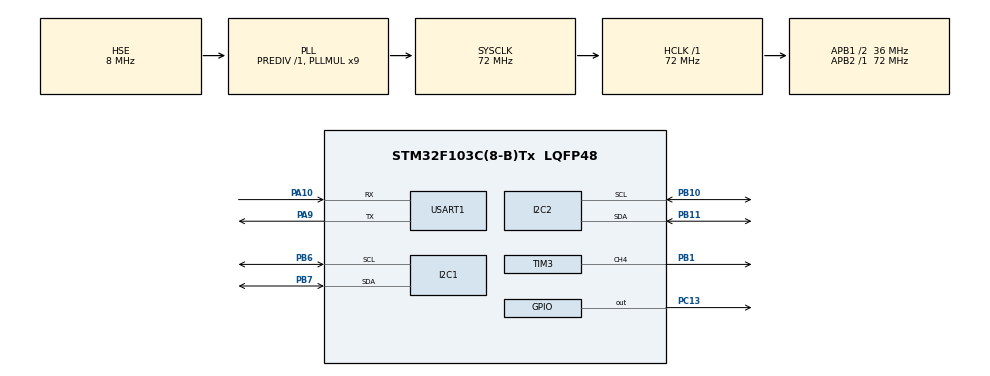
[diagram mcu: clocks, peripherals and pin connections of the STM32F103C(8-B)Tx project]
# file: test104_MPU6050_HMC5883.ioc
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Mcu.Family=STM32F1
Mcu.Name=STM32F103C(8-B)Tx
Mcu.Package=LQFP48
NVIC.PriorityGroup=NVIC_PRIORITYGROUP_4
NVIC.USART1_IRQn=true\:0\:0\:false\:false\:true\:true\:true
PA10.Mode=Asynchronous
PA10.Signal=USART1_RX
PA13.Mode=Serial_Wire
PA13.Signal=SYS_JTMS-SWDIO
PA14.Mode=Serial_Wire
PA14.Signal=SYS_JTCK-SWCLK
PA9.Mode=Asynchronous
PA9.Signal=USART1_TX
PB1.Signal=S_TIM3_CH4
PB10.Mode=I2C
PB10.Signal=I2C2_SCL
PB11.Mode=I2C
PB11.Signal=I2C2_SDA
PB6.Mode=I2C
PB6.Signal=I2C1_SCL
PB7.Mode=I2C
PB7.Signal=I2C1_SDA
PC13-TAMPER-RTC.Signal=GPIO_Output
PC14-OSC32_IN.Mode=LSE-External-Oscillator
PC14-OSC32_IN.Signal=RCC_OSC32_IN
PC15-OSC32_OUT.Mode=LSE-External-Oscillator
PC15-OSC32_OUT.Signal=RCC_OSC32_OUT
PD0-OSC_IN.Mode=HSE-External-Oscillator
PD0-OSC_IN.Signal=RCC_OSC_IN
PD1-OSC_OUT.Mode=HSE-External-Oscillator
PD1-OSC_OUT.Signal=RCC_OSC_OUT
ProjectManager.HeapSize=0x200
ProjectManager.StackSize=0x400
ProjectManager.TargetToolchain=MDK-ARM V5
RCC.AHBFreq_Value=72000000
RCC.APB1CLKDivider=RCC_HCLK_DIV2
RCC.APB1Freq_Value=36000000
RCC.APB1TimFreq_Value=72000000
RCC.APB2Freq_Value=72000000
RCC.APB2TimFreq_Value=72000000
RCC.HCLKFreq_Value=72000000
RCC.PLLMUL=RCC_PLL_MUL9
RCC.PLLSourceVirtual=RCC_PLLSOURCE_HSE
RCC.SYSCLKFreq_VALUE=72000000
RCC.SYSCLKSource=RCC_SYSCLKSOURCE_PLLCLK
RCC.USBFreq_Value=72000000
SH.S_TIM3_CH4.0=TIM3_CH4,PWM Generation4 CH4
TIM3.Channel-PWM\ Generation4\ CH4=TIM_CHANNEL_4
TIM3.Period=2000-1
TIM3.Prescaler=720-1
TIM3.Pulse-PWM\ Generation4\ CH4=1500
USART1.VirtualMode=VM_ASYNC
VP_TIM3_VS_ClockSourceINT.Mode=Internal
board=custom

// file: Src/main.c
/* USER CODE BEGIN Header */
/**
  ******************************************************************************
  * @file           : main.c
  * @brief          : Main program body
  ******************************************************************************
  * @attention
  *
  * <h2><center>&copy; Copyright (c) 2022 STMicroelectronics.
  * All rights reserved.</center></h2>
  *
  * This software component is licensed by ST under BSD 3-Clause license,
  * the "License"; You may not use this file except in compliance with the
  * License. You may obtain a copy of the License at:
  *                        opensource.org/licenses/BSD-3-Clause
  *
  ******************************************************************************
  */
/* USER CODE END Header */
#include "main.h"
#include "i2c.h"
#include "tim.h"
#include "usart.h"
#include "gpio.h"

void SystemClock_Config(void);

/* USER CODE BEGIN 0 */
#include "stdio.h"
#include  <math.h>    //Keil library
#include "HMC5883.h"
#include "mpu6050.h"
extern unsigned char BUF[];
unsigned char tx_data[20];
unsigned char sumcheck = 0;
unsigned char addcheck = 0;
signed short roll = 0;
signed short pitch = 0;
signed short yaw = 0;
extern float  Q_ANGLE_X, Q_ANGLE_Y, Q_ANGLE_Z;
void IMUupdate(float gx, float gy, float gz, float ax, float ay, float az);
void AHRSupdate(float gx, float gy, float gz, float ax, float ay, float az, float mx, float my, float mz);
/* USER CODE END 0 */

int main(void)
{
  /* USER CODE BEGIN 1 */
	short mx,my,mz;
	double angle;
	unsigned char i,j;
  /* USER CODE END 1 */

  /* MCU Configuration--------------------------------------------------------*/

  /* Reset of all peripherals, Initializes the Flash interface and the Systick. */
  HAL_Init();

  /* Configure the system clock */
  SystemClock_Config();

  /* Initialize all configured peripherals */
  MX_GPIO_Init();
  MX_USART1_UART_Init();
  MX_TIM3_Init();
  MX_I2C1_Init();
  MX_I2C2_Init();
  /* USER CODE BEGIN 2 */
	HAL_Delay(500);
	MPU6050_Init();
	MPU6050_calibrate();
	Init_HMC5883();

  /* USER CODE END 2 */

  /* Infinite loop */
  while (1)
  {

    /* USER CODE BEGIN 3 */
		HAL_Delay(100);
		Multiple_Read_HMC5883();      //????,??BUF???
		mx = (short)(BUF[0] << 8) | BUF[1]; //x???????
		mz = (short)(BUF[2] << 8) | BUF[3]; //z???????
		my = (short)(BUF[4] << 8) | BUF[5]; //y???????
/*
		printf("x = %d\r\ny = %d\r\nz = %d\r\n",x,y,z);
		angle= atan2((double)y,(double)x) * (180 / 3.14159265) + 180; //????
		printf("A = %f\r\n",angle);
		printf("\r\n");
		*/

		MPU6050_Get();
				//????,????????
		/*
		IMUupdate((float)gx*500/57.3/65536, (float)gy*500/57.3/65536, (float)gz*500/57.3/65536,
							(float)ax*9.8/16384, (float)ay*9.8/16384, (float)az*9.8/16384);
		*/
		AHRSupdate((float)gx*500/57.3/65536, (float)gy*500/57.3/65536, (float)gz*500/57.3/65536,
							(float)ax, (float)ay, (float)az,
							(float)mx, (float)my, (float)mz);
		i = 0;
		tx_data[i++] = 0xAA;
		tx_data[i++] = 0xFF;
		tx_data[i++] = 0x03;
		tx_data[i++] = 7;

		roll = Q_ANGLE_X*100;		// ???100
		tx_data[i++] = roll&0xff;
		tx_data[i++] = roll>>8;

		pitch = Q_ANGLE_Y*100;
		tx_data[i++] = pitch&0xff;
		tx_data[i++] = pitch>>8;

		yaw = Q_ANGLE_Z*100;
		tx_data[i++] = yaw&0xff;
		tx_data[i++] = yaw>>8;
		tx_data[i++] = 0;
		sumcheck = 0;
		addcheck = 0;
		for(j=0; j < (tx_data[3]+4); j++)
		{
			 sumcheck += tx_data[j];    //?????
			 addcheck += sumcheck;      //?????
		}
		tx_data[i++] = sumcheck;
		tx_data[i++] = addcheck;
		HAL_UART_Transmit_IT(&huart1, tx_data, i);
  }
  /* USER CODE END 3 */
}

void SystemClock_Config(void)
{
  RCC_OscInitTypeDef RCC_OscInitStruct = {0};
  RCC_ClkInitTypeDef RCC_ClkInitStruct = {0};

  /** Initializes the RCC Oscillators according to the specified parameters
  * in the RCC_OscInitTypeDef structure.
  */
  RCC_OscInitStruct.OscillatorType = RCC_OSCILLATORTYPE_HSE;
  RCC_OscInitStruct.HSEState = RCC_HSE_ON;
  RCC_OscInitStruct.HSEPredivValue = RCC_HSE_PREDIV_DIV1;
  RCC_OscInitStruct.HSIState = RCC_HSI_ON;
  RCC_OscInitStruct.PLL.PLLState = RCC_PLL_ON;
  RCC_OscInitStruct.PLL.PLLSource = RCC_PLLSOURCE_HSE;
  RCC_OscInitStruct.PLL.PLLMUL = RCC_PLL_MUL9;
  if (HAL_RCC_OscConfig(&RCC_OscInitStruct) != HAL_OK)
  {
    Error_Handler();
  }
  /** Initializes the CPU, AHB and APB buses clocks
  */
  RCC_ClkInitStruct.ClockType = RCC_CLOCKTYPE_HCLK|RCC_CLOCKTYPE_SYSCLK
                              |RCC_CLOCKTYPE_PCLK1|RCC_CLOCKTYPE_PCLK2;
  RCC_ClkInitStruct.SYSCLKSource = RCC_SYSCLKSOURCE_PLLCLK;
  RCC_ClkInitStruct.AHBCLKDivider = RCC_SYSCLK_DIV1;
  RCC_ClkInitStruct.APB1CLKDivider = RCC_HCLK_DIV2;
  RCC_ClkInitStruct.APB2CLKDivider = RCC_HCLK_DIV1;

  if (HAL_RCC_ClockConfig(&RCC_ClkInitStruct, FLASH_LATENCY_2) != HAL_OK)
  {
    Error_Handler();
  }
}

void Error_Handler(void)
{
  __disable_irq();
  while (1)
  {
  }
}

/************************ (C) COPYRIGHT STMicroelectronics *****END OF FILE****/
